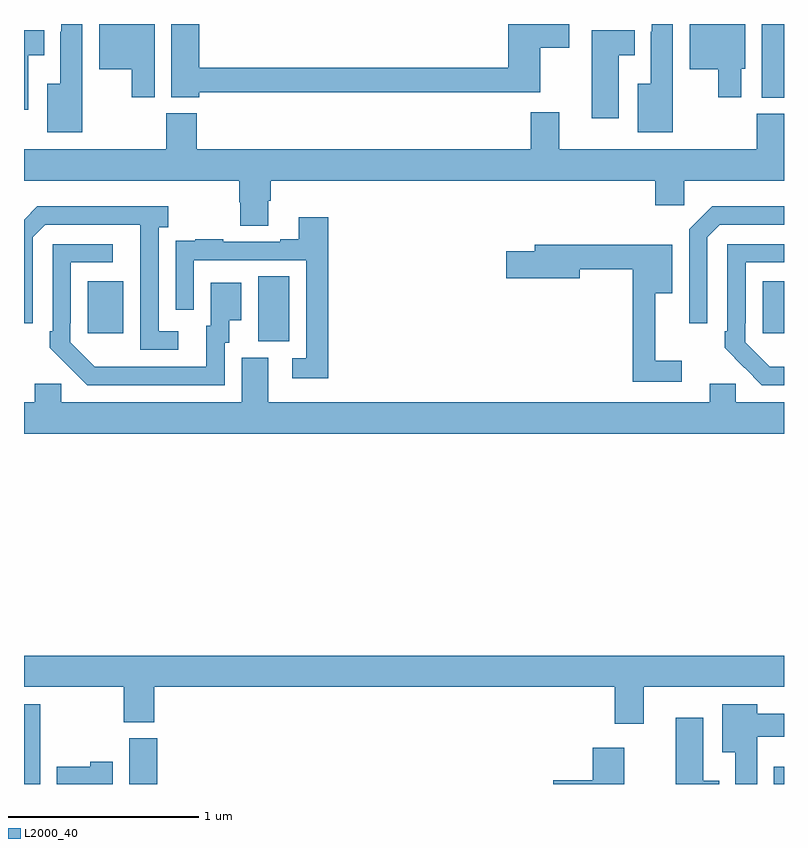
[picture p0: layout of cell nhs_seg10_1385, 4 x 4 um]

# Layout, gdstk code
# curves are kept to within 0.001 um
import gdstk
lib = gdstk.Library(unit=1e-6, precision=1e-09)
def R(c, l, rs):  # rectangles x0, y0, x1, y1
    for r in rs: c.add(gdstk.rectangle(r[:2], r[2:], *l))
def P(c, l, *ps):  # polygons
    for p in ps: c.add(gdstk.Polygon(p, *l))
L2000_40 = (2000, 40)

nhs_seg10_1385 = lib.new_cell('nhs_seg10_1385')
R(nhs_seg10_1385, L2000_40, [(183,1270.5,183.085,1270.921), (183.554,1270.5,183.701,1270.74), (186.947,1270.5,187,1270.591), (184.232,1272.829,184.396,1273.172), (183.335,1272.873,183.523,1273.147), (186.887,1272.873,187,1273.147), (186.884,1274.113,187,1274.5)])
P(nhs_seg10_1385, L2000_40, [(183.307,1274.5),(183.195,1274.5),(183.195,1274.459),(183.191,1274.459),(183.191,1274.185),(183.122,1274.185),(183.122,1273.931),(183.307,1273.931)],
  [(183.923,1274.142),(185.716,1274.142),(185.716,1274.374),(185.869,1274.374),(185.869,1274.5),(185.549,1274.5),(185.549,1274.27),(183.923,1274.27),(183.923,1274.5),(183.776,1274.5),(183.776,1274.114),(183.923,1274.114)],
  [(186.415,1274.5),(186.303,1274.5),(186.303,1274.459),(186.299,1274.459),(186.299,1274.185),(186.23,1274.185),(186.23,1273.931),(186.415,1273.931)],
  [(183.688,1274.5),(183.395,1274.5),(183.395,1274.261),(183.566,1274.261),(183.566,1274.115),(183.688,1274.115)],
  [(186.775,1274.265),(186.796,1274.265),(186.796,1274.5),(186.503,1274.5),(186.503,1274.261),(186.653,1274.261),(186.653,1274.115),(186.775,1274.115)],
  [(186.13,1274.336),(186.214,1274.336),(186.214,1274.467),(185.987,1274.467),(185.987,1274.004),(186.13,1274.004)],
  [(183.022,1274.336),(183.106,1274.336),(183.106,1274.467),(183,1274.467),(183,1274.049),(183.022,1274.049)],
  [(184.285,1273.57),(184.298,1273.57),(184.298,1273.676),(186.323,1273.676),(186.323,1273.545),(186.474,1273.545),(186.474,1273.676),(187,1273.676),(187,1274.028),(186.856,1274.028),(186.856,1273.84),(185.818,1273.84),(185.818,1274.035),(185.666,1274.035),(185.666,1273.84),(183.908,1273.84),(183.908,1274.029),(183.748,1274.029),(183.748,1273.84),(183,1273.84),(183,1273.676),(184.133,1273.676),(184.133,1273.563),(184.138,1273.563),(184.138,1273.438),(184.285,1273.438)],
  [(183.811,1272.882),(183.708,1272.882),(183.708,1273.43),(183.76,1273.43),(183.76,1273.54),(183.07,1273.54),(183,1273.47),(183,1272.924),(183.045,1272.924),(183.045,1273.377),(183.111,1273.443),(183.611,1273.443),(183.612,1272.786),(183.811,1272.786)],
  [(186.597,1273.377),(186.663,1273.443),(187,1273.443),(187,1273.54),(186.622,1273.54),(186.501,1273.419),(186.501,1272.924),(186.597,1272.924)],
  [(184.601,1273.483),(184.445,1273.483),(184.445,1273.366),(184.349,1273.366),(184.349,1273.353),(184.049,1273.353),(184.049,1273.366),(183.901,1273.366),(183.901,1273.359),(183.799,1273.359),(183.799,1273.25),(183.798,1273.25),(183.798,1272.996),(183.894,1272.996),(183.894,1273.257),(184.485,1273.257),(184.485,1272.741),(184.413,1272.741),(184.413,1272.636),(184.601,1272.636)],
  [(184.056,1272.822),(184.081,1272.822),(184.081,1272.941),(184.144,1272.941),(184.144,1273.138),(183.983,1273.138),(183.983,1272.912),(183.959,1272.912),(183.959,1272.696),(183.372,1272.697),(183.243,1272.825),(183.243,1272.925),(183.246,1272.925),(183.246,1273.245),(183.466,1273.245),(183.466,1273.341),(183.15,1273.341),(183.15,1272.883),(183.135,1272.883),(183.135,1272.795),(183.332,1272.6),(184.056,1272.6)],
  [(187,1272.697),(186.924,1272.697),(186.795,1272.825),(186.795,1272.925),(186.798,1272.925),(186.798,1273.245),(187,1273.245),(187,1273.341),(186.702,1273.341),(186.702,1272.883),(186.687,1272.883),(186.687,1272.795),(186.884,1272.6),(187,1272.6)],
  [(186.463,1272.727),(186.323,1272.727),(186.323,1273.082),(186.412,1273.082),(186.412,1273.339),(185.687,1273.339),(185.687,1273.305),(185.538,1273.305),(185.538,1273.163),(185.926,1273.163),(185.926,1273.21),(186.205,1273.21),(186.205,1272.618),(186.463,1272.618)],
  [(187,1272.508),(186.747,1272.508),(186.747,1272.606),(186.608,1272.606),(186.608,1272.508),(184.285,1272.508),(184.285,1272.744),(184.145,1272.744),(184.145,1272.508),(183.195,1272.508),(183.195,1272.606),(183.056,1272.606),(183.056,1272.508),(183,1272.508),(183,1272.344),(187,1272.344)],
  [(186.262,1271.012),(187,1271.012),(187,1271.176),(183,1271.176),(183,1271.012),(183.526,1271.012),(183.526,1270.825),(183.686,1270.825),(183.686,1271.012),(186.11,1271.012),(186.11,1270.818),(186.262,1270.818)],
  [(186.859,1270.748),(187,1270.748),(187,1270.87),(186.859,1270.87),(186.859,1270.921),(186.674,1270.921),(186.674,1270.667),(186.743,1270.667),(186.743,1270.5),(186.859,1270.5)],
  [(186.658,1270.516),(186.574,1270.516),(186.574,1270.849),(186.431,1270.849),(186.431,1270.5),(186.658,1270.5)],
  [(186.16,1270.69),(185.993,1270.69),(185.993,1270.52),(185.786,1270.52),(185.786,1270.5),(186.16,1270.5)],
  [(183.466,1270.618),(183.348,1270.618),(183.348,1270.591),(183.173,1270.591),(183.173,1270.5),(183.466,1270.5)])

lib.write_gds('nhs_seg10_1385.gds')
